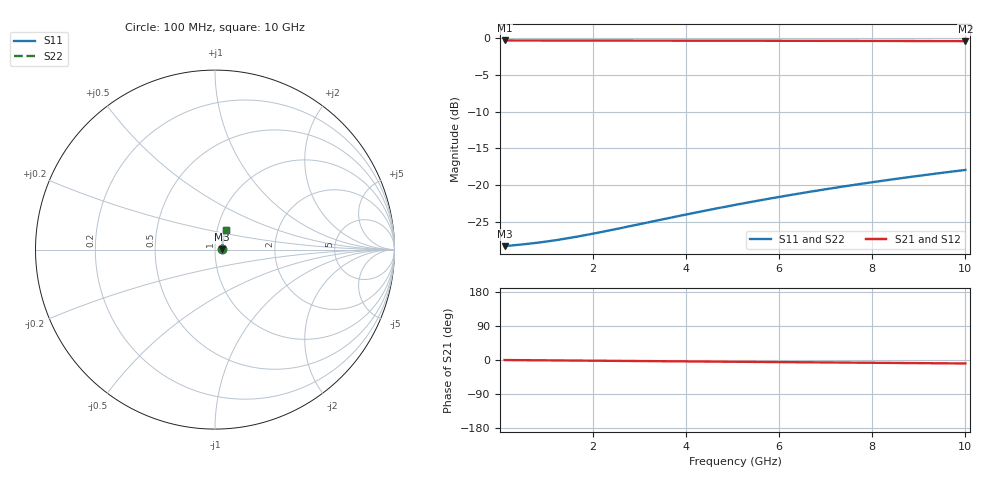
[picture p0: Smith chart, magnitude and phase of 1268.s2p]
# Hz S RI R 50.00
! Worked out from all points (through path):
!   100 points, 100 MHz to 10 GHz, reference 50 ohm
!   highest |S21| = -0.34 dB at 100 MHz (marker M1); lowest = -0.4 dB at 10 GHz (marker M2)
!   group delay of S21, straight-line fit = 2.54 ps
!   lowest |S11| = -28.3 dB at 100 MHz (marker M3), VSWR 1.08, Z = 54 + j0.125 ohm
!   |S11| at or under -10 dB: start of sweep to end of sweep
!   |S22| runs from -28.3 to -17.9 dB; largest |S21 - S12| = 0
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1e8  0.0385 0.00115  0.9615 -0.00155  0.9615 -0.00155  0.0385 0.00115
6e8  0.0394 0.0069  0.9606 -0.00926  0.9606 -0.00926  0.0394 0.0069
8e8  0.0396 0.0092  0.9604 -0.0123  0.9604 -0.0123  0.0396 0.0092
1e9  0.0398 0.0115  0.9602 -0.0154  0.9602 -0.0154  0.0398 0.0115
1.2e9  0.04 0.0138  0.96 -0.0185  0.96 -0.0185  0.04 0.0138
1.4e9  0.0402 0.0161  0.9598 -0.0216  0.9598 -0.0216  0.0402 0.0161
1.8e9  0.0406 0.0207  0.9593 -0.0277  0.9593 -0.0277  0.0406 0.0207
2.1e9  0.041 0.0241  0.959 -0.0323  0.959 -0.0323  0.041 0.0241
2.4e9  0.0413 0.0275  0.9586 -0.0369  0.9586 -0.0369  0.0413 0.0275
3.4e9  0.0427 0.0389  0.9572 -0.0523  0.9572 -0.0523  0.0427 0.0389
4.3e9  0.0442 0.0491  0.9557 -0.066  0.9557 -0.066  0.0442 0.0491
4.7e9  0.0449 0.0536  0.9549 -0.0721  0.9549 -0.0721  0.0449 0.0536
5.1e9  0.0457 0.0581  0.9541 -0.0782  0.9541 -0.0782  0.0457 0.0581
5.5e9  0.0465 0.0626  0.9532 -0.0842  0.9532 -0.0842  0.0465 0.0626
5.9e9  0.0474 0.0671  0.9523 -0.0903  0.9523 -0.0903  0.0474 0.0671
6.3e9  0.0484 0.0715  0.9513 -0.0963  0.9513 -0.0963  0.0484 0.0715
6.7e9  0.0494 0.076  0.9502 -0.1023  0.9502 -0.1023  0.0494 0.076
7.5e9  0.0516 0.0848  0.948 -0.1143  0.948 -0.1143  0.0516 0.0848
7.9e9  0.0527 0.0892  0.9468 -0.1203  0.9468 -0.1203  0.0527 0.0892
8.4e9  0.0543 0.0947  0.9452 -0.1277  0.9452 -0.1277  0.0543 0.0947
9.2e9  0.0569 0.1034  0.9424 -0.1395  0.9424 -0.1395  0.0569 0.1034
1e10  0.0597 0.112  0.9395 -0.1513  0.9395 -0.1513  0.0597 0.112
